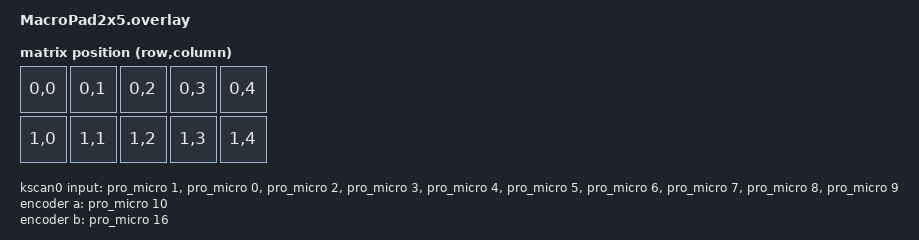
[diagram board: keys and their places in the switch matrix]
#include <dt-bindings/zmk/matrix_transform.h>
#include <physical_layouts.dtsi>

/ {
	chosen {
		zmk,kscan = &kscan0;
	};

	kscan0: kscan_0 {
		compatible = "zmk,kscan-gpio-direct";
		input-gpios
			= <&pro_micro 1 (GPIO_ACTIVE_LOW | GPIO_PULL_UP)>
			, <&pro_micro 0 (GPIO_ACTIVE_LOW | GPIO_PULL_UP)>
			, <&pro_micro 2 (GPIO_ACTIVE_LOW | GPIO_PULL_UP)>
			, <&pro_micro 3 (GPIO_ACTIVE_LOW | GPIO_PULL_UP)>
			, <&pro_micro 4 (GPIO_ACTIVE_LOW | GPIO_PULL_UP)>
			, <&pro_micro 5 (GPIO_ACTIVE_LOW | GPIO_PULL_UP)>
			, <&pro_micro 6 (GPIO_ACTIVE_LOW | GPIO_PULL_UP)>
			, <&pro_micro 7 (GPIO_ACTIVE_LOW | GPIO_PULL_UP)>
			, <&pro_micro 8 (GPIO_ACTIVE_LOW | GPIO_PULL_UP)>
			, <&pro_micro 9 (GPIO_ACTIVE_LOW | GPIO_PULL_UP)>
			;
	};

	default_layout: physical_layout_0 {
		compatible = "zmk,physical-layout";
		display-name = "Default Layout";
		transform = <&default_transform>;
		kscan = <&kscan0>;

		keys  //                     w   h    x    y     rot                  rot-x rot-y
			= <&key_physical_attrs 100 100    0    0       0                     0     0>
			, <&key_physical_attrs 100 100  100    0       0                     0     0>
			, <&key_physical_attrs 100 100  200    0       0                     0     0>
			, <&key_physical_attrs 100 100  300    0       0                     0     0>
			, <&key_physical_attrs 100 100  400    0       0                     0     0>
			, <&key_physical_attrs 100 100    0  100       0                     0     0>
			, <&key_physical_attrs 100 100  100  100       0                     0     0>
			, <&key_physical_attrs 100 100  200  100       0                     0     0>
			, <&key_physical_attrs 100 100  300  100       0                     0     0>
			, <&key_physical_attrs 100 100  400  100       0                     0     0>
			;
	};

	chosen {
		zmk,kscan = &kscan0;
		zmk,physical-layout = &default_layout;
	};
	
	default_transform: keymap_transform_0 {
		compatible = "zmk,matrix-transform";
		columns = <5>;
		rows = <2>;
		map = <
			RC(0,0) RC(0,1) RC(0,2) RC(0,3) RC(0,4)
			RC(1,0) RC(1,1) RC(1,2) RC(1,3) RC(1,4)
		>;
	};
	
	encoder: encoder {
	compatible = "alps,ec11";
	a-gpios = <&pro_micro 10 (GPIO_ACTIVE_LOW | GPIO_PULL_UP)>;
	b-gpios = <&pro_micro 16 (GPIO_ACTIVE_LOW | GPIO_PULL_UP)>;
	steps = <80>;
	status = "okay";
};

	sensors {
		compatible = "zmk,keymap-sensors";
		sensors = <&encoder>;
	};
};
